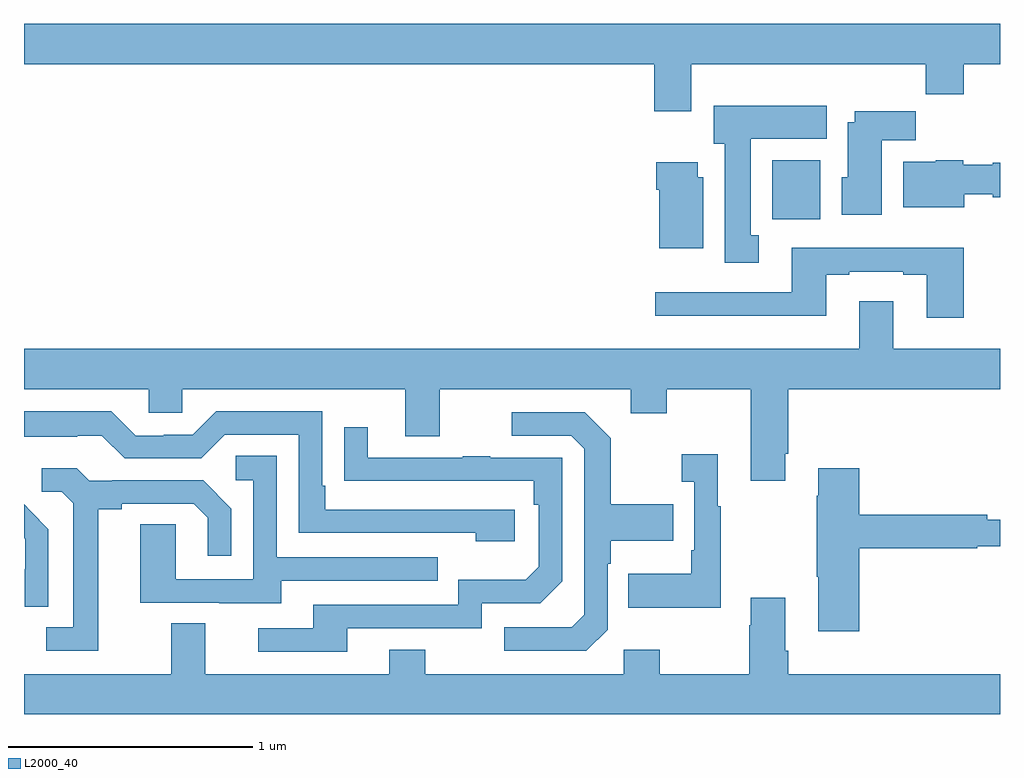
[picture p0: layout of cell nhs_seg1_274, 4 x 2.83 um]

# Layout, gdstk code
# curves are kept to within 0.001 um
import gdstk
lib = gdstk.Library(unit=1e-6, precision=1e-09)
def R(c, l, rs):  # rectangles x0, y0, x1, y1
    for r in rs: c.add(gdstk.rectangle(r[:2], r[2:], *l))
def P(c, l, *ps):  # polygons
    for p in ps: c.add(gdstk.Polygon(p, *l))
L2000_40 = (2000, 40)

nhs_seg1_274 = lib.new_cell('nhs_seg1_274')
R(nhs_seg1_274, L2000_40, [(128.066,560.42,128.263,560.662)])
P(nhs_seg1_274, L2000_40, [(127.735,561.056),(128.695,561.056),(128.695,560.932),(128.852,560.932),(128.852,561.056),(129,561.056),(129,561.22),(125,561.22),(125,561.056),(127.583,561.056),(127.583,560.862),(127.735,560.862)],
  [(128.011,560.354),(127.978,560.354),(127.978,560.75),(128.29,560.75),(128.29,560.884),(127.826,560.884),(127.826,560.73),(127.871,560.73),(127.871,560.241),(128.011,560.241)],
  [(128.515,560.744),(128.654,560.744),(128.654,560.863),(128.405,560.863),(128.405,560.818),(128.375,560.818),(128.375,560.592),(128.351,560.592),(128.351,560.438),(128.515,560.438)],
  [(128.854,560.522),(128.97,560.522),(128.97,560.51),(129,560.51),(129,560.652),(128.97,560.652),(128.97,560.644),(128.85,560.644),(128.85,560.662),(128.736,560.662),(128.736,560.656),(128.603,560.656),(128.603,560.468),(128.854,560.468)],
  [(127.783,560.592),(127.762,560.592),(127.762,560.653),(127.592,560.653),(127.592,560.54),(127.604,560.54),(127.604,560.3),(127.783,560.3)],
  [(128.852,560.302),(128.147,560.302),(128.147,560.121),(127.587,560.121),(127.587,560.024),(128.287,560.024),(128.287,560.193),(128.383,560.193),(128.383,560.205),(128.603,560.205),(128.603,560.193),(128.699,560.193),(128.699,560.016),(128.852,560.016)],
  [(128.119,559.459),(128.132,559.459),(128.132,559.724),(129,559.724),(129,559.888),(128.563,559.888),(128.563,560.083),(128.423,560.083),(128.423,559.888),(125,559.888),(125,559.724),(125.511,559.724),(125.511,559.626),(125.649,559.626),(125.649,559.724),(126.563,559.724),(126.563,559.53),(126.703,559.53),(126.703,559.724),(127.487,559.724),(127.487,559.625),(127.635,559.625),(127.635,559.724),(127.979,559.724),(127.979,559.347),(128.119,559.347)],
  [(127.012,559.23),(126.235,559.23),(126.235,559.327),(126.222,559.327),(126.222,559.632),(125.787,559.632),(125.691,559.536),(125.573,559.536),(125.573,559.533),(125.457,559.533),(125.357,559.633),(125,559.633),(125,559.529),(125.219,559.529),(125.219,559.533),(125.319,559.533),(125.412,559.44),(125.727,559.44),(125.823,559.536),(126.126,559.536),(126.126,559.134),(126.851,559.134),(126.851,559.1),(127.012,559.1)],
  [(127.392,558.738),(127.392,559.007),(127.405,559.007),(127.405,559.103),(127.661,559.103),(127.661,559.251),(127.405,559.251),(127.405,559.523),(127.299,559.629),(126.999,559.629),(126.999,559.533),(127.242,559.533),(127.296,559.479),(127.296,558.798),(127.245,558.747),(126.969,558.747),(126.969,558.651),(127.305,558.651)],
  [(126.325,558.744),(126.876,558.744),(126.876,558.846),(127.116,558.846),(127.206,558.936),(127.206,559.443),(126.911,559.443),(126.911,559.448),(126.799,559.448),(126.799,559.443),(126.409,559.443),(126.409,559.567),(126.313,559.567),(126.313,559.348),(127.09,559.347),(127.09,559.25),(127.11,559.25),(127.11,558.996),(127.057,558.943),(126.78,558.943),(126.78,558.84),(126.185,558.84),(126.185,558.744),(125.961,558.744),(125.961,558.648),(126.325,558.648)],
  [(127.855,559.243),(127.843,559.243),(127.843,559.456),(127.695,559.456),(127.695,559.343),(127.746,559.343),(127.746,559.063),(127.734,559.063),(127.734,558.967),(127.477,558.967),(127.477,558.827),(127.855,558.827)],
  [(126.055,558.939),(126.695,558.939),(126.695,559.035),(126.036,559.035),(126.036,559.451),(125.868,559.451),(125.868,559.35),(125.94,559.35),(125.94,558.945),(125.622,558.945),(125.622,559.169),(125.477,559.169),(125.477,558.849),(125.801,558.849),(125.801,558.845),(126.055,558.845)],
  [(125.305,559.232),(125.401,559.232),(125.401,559.254),(125.696,559.254),(125.753,559.197),(125.753,559.041),(125.85,559.041),(125.85,559.234),(125.734,559.35),(125.362,559.35),(125.362,559.347),(125.268,559.347),(125.216,559.399),(125.073,559.399),(125.073,559.302),(125.154,559.302),(125.201,559.255),(125.201,558.747),(125.091,558.747),(125.091,558.651),(125.305,558.651)],
  [(128.423,559.072),(128.906,559.072),(128.906,559.08),(129,559.08),(129,559.189),(128.948,559.189),(128.948,559.208),(128.423,559.208),(128.423,559.399),(128.255,559.399),(128.255,559.286),(128.248,559.286),(128.248,558.955),(128.255,558.955),(128.255,558.732),(128.423,558.732)],
  [(125.1,559.15),(125.027,559.223),(125.028,559.224),(125,559.252),(125,559.115),(125.006,559.109),(125.006,558.986),(125.004,558.986),(125.004,558.832),(125.1,558.832)],
  [(129,558.556),(128.132,558.556),(128.132,558.652),(128.119,558.652),(128.119,558.868),(127.979,558.868),(127.979,558.755),(127.972,558.755),(127.972,558.556),(127.605,558.556),(127.605,558.655),(127.458,558.655),(127.458,558.556),(126.645,558.556),(126.645,558.655),(126.497,558.655),(126.497,558.556),(125.743,558.556),(125.743,558.764),(125.603,558.764),(125.603,558.556),(125,558.556),(125,558.392),(129,558.392)])

lib.write_gds('nhs_seg1_274.gds')
